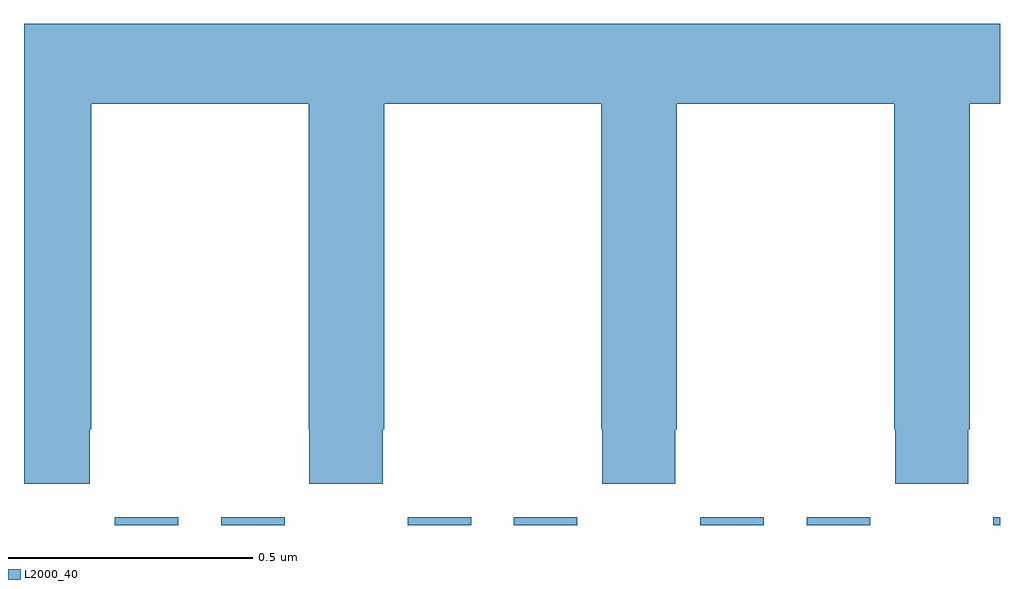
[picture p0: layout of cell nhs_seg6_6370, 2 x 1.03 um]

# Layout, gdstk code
import gdstk
lib = gdstk.Library(unit=1e-6, precision=1e-09)
def R(c, l, rs):  # rectangles x0, y0, x1, y1
    for r in rs: c.add(gdstk.rectangle(r[:2], r[2:], *l))
def P(c, l, *ps):  # polygons
    for p in ps: c.add(gdstk.Polygon(p, *l))
L2000_40 = (2000, 40)

nhs_seg6_6370 = lib.new_cell('nhs_seg6_6370')
R(nhs_seg6_6370, L2000_40, [(195.186,918.5,195.316,918.517), (195.404,918.5,195.534,918.517), (195.786,918.5,195.916,918.517), (196.004,918.5,196.134,918.517), (196.386,918.5,196.516,918.517), (196.604,918.5,196.734,918.517), (196.986,918.5,197,918.517)])
P(nhs_seg6_6370, L2000_40, [(195.135,918.697),(195.138,918.697),(195.138,919.364),(195.583,919.364),(195.583,918.697),(195.585,918.697),(195.585,918.585),(195.735,918.585),(195.735,918.697),(195.738,918.697),(195.738,919.364),(196.183,919.364),(196.183,918.697),(196.185,918.697),(196.185,918.585),(196.335,918.585),(196.335,918.697),(196.338,918.697),(196.338,919.364),(196.783,919.364),(196.783,918.697),(196.785,918.697),(196.785,918.585),(196.935,918.585),(196.935,918.697),(196.938,918.697),(196.938,919.364),(197,919.364),(197,919.528),(195,919.528),(195,918.585),(195.135,918.585)])

lib.write_gds('nhs_seg6_6370.gds')
